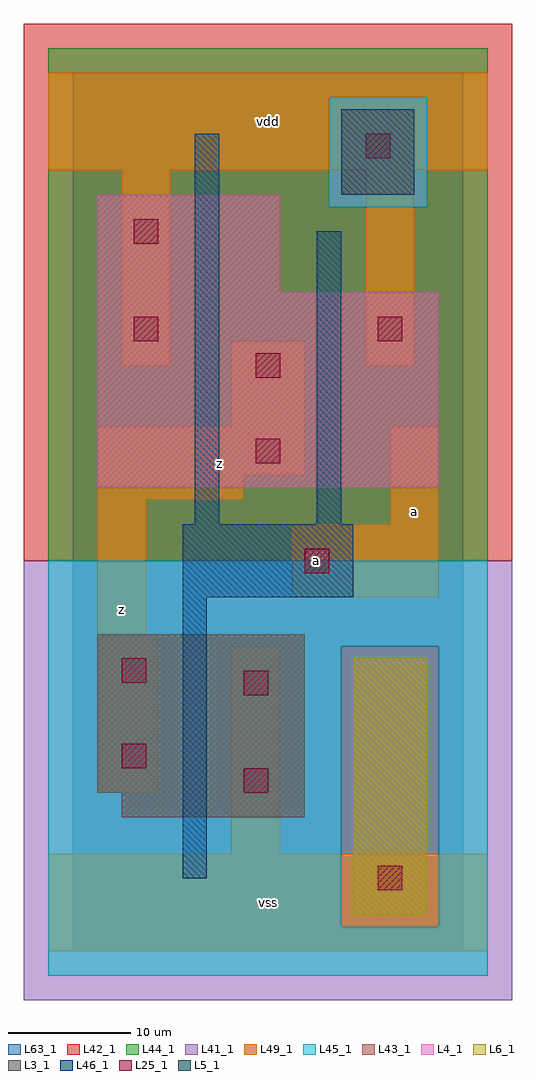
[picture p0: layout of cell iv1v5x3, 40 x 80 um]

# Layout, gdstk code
import gdstk
lib = gdstk.Library(unit=1e-6, precision=1e-09)
def R(c, l, rs):  # rectangles x0, y0, x1, y1
    for r in rs: c.add(gdstk.rectangle(r[:2], r[2:], *l))
L3_1 = (3, 1)
L4_1 = (4, 1)
L5_1 = (5, 1)
L6_1 = (6, 1)
L25_1 = (25, 1)
L41_1 = (41, 1)
L42_1 = (42, 1)
L43_1 = (43, 1)
L44_1 = (44, 1)
L45_1 = (45, 1)
L46_1 = (46, 1)
L49_1 = (49, 1)
L63_1 = (63, 1)

iv1v5x3 = lib.new_cell('iv1v5x3')
R(iv1v5x3, L3_1, [(4,11,19,13), (2,13,19,26)])
R(iv1v5x3, L4_1, [(2,38,30,54), (2,54,17,62)])
R(iv1v5x3, L5_1, [(22,62,28,69)])
R(iv1v5x3, L6_1, [(23,3,29,24), (23,3,29,24)])
R(iv1v5x3, L25_1, [(25,5,27,7), (14,13,16,15), (4,15,6,17), (14,21,16,23), (4,22,6,24), (19,31,21,33), (15,40,17,42), (15,47,17,49), (5,50,7,52), (25,50,27,52), (5,58,7,60), (24,65,26,67)])
R(iv1v5x3, L41_1, [(-4,-4,36,32)])
R(iv1v5x3, L42_1, [(-4,32,36,76)])
R(iv1v5x3, L43_1, [(23,3,29,24), (4,11,19,13), (2,13,19,26), (2,38,30,54), (2,54,17,62), (22,62,28,69)])
R(iv1v5x3, L44_1, [(22,2,30,25), (-2,32,34,61), (-2,61,21,70), (29,61,34,70), (-2,70,34,74)])
R(iv1v5x3, L45_1, [(-2,-2,34,2), (-2,2,22,25), (30,2,34,25), (-2,25,34,32), (21,61,29,70)])
R(iv1v5x3, L46_1, [(9,6,11,29), (9,29,23,35), (10,35,12,67), (20,35,22,59)])
R(iv1v5x3, L49_1, [(-2,0,34,8), (13,8,17,25), (2,13,7,26), (2,26,6,37), (18,29,30,35), (26,35,30,43), (2,37,14,39), (2,39,19,43), (13,43,19,50), (4,48,8,64), (24,48,28,64), (-2,64,34,72)])
R(iv1v5x3, L63_1, [(0,0,32,72)])
iv1v5x3.add(gdstk.Label('z', (4,28), layer=49, texttype=1))
iv1v5x3.add(gdstk.Label('z', (12,40), layer=49, texttype=1))
iv1v5x3.add(gdstk.Label('vss', (16,4), layer=49, texttype=1))
iv1v5x3.add(gdstk.Label('a', (20,32), layer=49, texttype=1))
iv1v5x3.add(gdstk.Label('vdd', (16,68), layer=49, texttype=1))
iv1v5x3.add(gdstk.Label('a', (28,36), layer=49, texttype=1))

lib.write_gds('iv1v5x3.gds')
